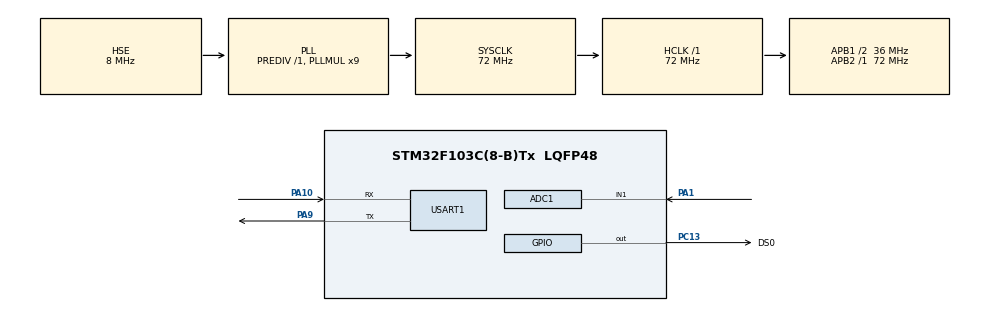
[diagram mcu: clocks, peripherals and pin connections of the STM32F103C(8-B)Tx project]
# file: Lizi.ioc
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ADC1.Channel-5\#ChannelRegularConversion=ADC_CHANNEL_1
ADC1.ContinuousConvMode=ENABLE
ADC1.EnableRegularConversion=ENABLE
ADC1.NbrOfConversion=1
ADC1.NbrOfConversionFlag=1
ADC1.Rank-5\#ChannelRegularConversion=1
ADC1.SamplingTime-5\#ChannelRegularConversion=ADC_SAMPLETIME_13CYCLES_5
ADC1.master=1
Dma.ADC1.0.Direction=DMA_PERIPH_TO_MEMORY
Dma.ADC1.0.Instance=DMA1_Channel1
Dma.ADC1.0.MemDataAlignment=DMA_MDATAALIGN_WORD
Dma.ADC1.0.MemInc=DMA_MINC_ENABLE
Dma.ADC1.0.Mode=DMA_CIRCULAR
Dma.ADC1.0.PeriphDataAlignment=DMA_PDATAALIGN_HALFWORD
Dma.ADC1.0.PeriphInc=DMA_PINC_DISABLE
Dma.ADC1.0.Priority=DMA_PRIORITY_LOW
Dma.Request0=ADC1
Mcu.Family=STM32F1
Mcu.Name=STM32F103C(8-B)Tx
Mcu.Package=LQFP48
NVIC.ADC1_2_IRQn=true\:0\:0\:false\:false\:true\:true\:true
NVIC.DMA1_Channel1_IRQn=true\:0\:0\:false\:false\:true\:false\:true
NVIC.PriorityGroup=NVIC_PRIORITYGROUP_4
NVIC.USART1_IRQn=true\:1\:0\:true\:false\:true\:true\:true
PA1.Signal=ADCx_IN1
PA10.Mode=Asynchronous
PA10.Signal=USART1_RX
PA13.Mode=Serial_Wire
PA13.Signal=SYS_JTMS-SWDIO
PA14.Mode=Serial_Wire
PA14.Signal=SYS_JTCK-SWCLK
PA9.Mode=Asynchronous
PA9.Signal=USART1_TX
PC13-TAMPER-RTC.GPIO_Label=DS0
PC13-TAMPER-RTC.GPIO_Speed=GPIO_SPEED_FREQ_HIGH
PC13-TAMPER-RTC.PinState=GPIO_PIN_SET
PC13-TAMPER-RTC.Signal=GPIO_Output
PC14-OSC32_IN.Mode=LSE-External-Oscillator
PC14-OSC32_IN.Signal=RCC_OSC32_IN
PC15-OSC32_OUT.Mode=LSE-External-Oscillator
PC15-OSC32_OUT.Signal=RCC_OSC32_OUT
PD0-OSC_IN.Mode=HSE-External-Oscillator
PD0-OSC_IN.Signal=RCC_OSC_IN
PD1-OSC_OUT.Mode=HSE-External-Oscillator
PD1-OSC_OUT.Signal=RCC_OSC_OUT
ProjectManager.HeapSize=0x200
ProjectManager.StackSize=0x400
ProjectManager.TargetToolchain=MDK-ARM V5.27
RCC.ADCPresc=RCC_ADCPCLK2_DIV6
RCC.AHBFreq_Value=72000000
RCC.APB1CLKDivider=RCC_HCLK_DIV2
RCC.APB1Freq_Value=36000000
RCC.APB1TimFreq_Value=72000000
RCC.APB2Freq_Value=72000000
RCC.APB2TimFreq_Value=72000000
RCC.EnbaleCSS=true
RCC.HCLKFreq_Value=72000000
RCC.PLLMUL=RCC_PLL_MUL9
RCC.PLLSourceVirtual=RCC_PLLSOURCE_HSE
RCC.RTCClockSelection=RCC_RTCCLKSOURCE_LSE
RCC.SYSCLKFreq_VALUE=72000000
RCC.SYSCLKSource=RCC_SYSCLKSOURCE_PLLCLK
RCC.USBFreq_Value=72000000
SH.ADCx_IN1.0=ADC1_IN1,IN1
USART1.VirtualMode=VM_ASYNC
VP_RTC_No_RTC_Output.Mode=RTC_OUT_NO
VP_RTC_VS_RTC_Activate.Mode=RTC_Enabled
board=custom

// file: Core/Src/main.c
/* USER CODE BEGIN Header */
/**
  ******************************************************************************
  * @file           : main.c
  * @brief          : Main program body
  ******************************************************************************
  * @attention
  *
  * <h2><center>&copy; Copyright (c) 2020 STMicroelectronics.
  * All rights reserved.</center></h2>
  *
  * This software component is licensed by ST under BSD 3-Clause license,
  * the "License"; You may not use this file except in compliance with the
  * License. You may obtain a copy of the License at:
  *                        opensource.org/licenses/BSD-3-Clause
  *
  ******************************************************************************
  */
/* USER CODE END Header */
#include "main.h"
#include "adc.h"
#include "dma.h"
#include "rtc.h"
#include "usart.h"
#include "gpio.h"

/* USER CODE BEGIN Includes */
#include "ad2ma.h"
/* USER CODE END Includes */

/* USER CODE BEGIN PTD */
uint32_t ADC_Value[256];
/* USER CODE END PTD */

void SystemClock_Config(void);

int main(void)
{
  /* USER CODE BEGIN 1 */
	uint16_t i = 0, j = 0, k = 0;
	uint32_t Voltage;
	float Current;
  /* USER CODE END 1 */

  /* MCU Configuration--------------------------------------------------------*/

  /* Reset of all peripherals, Initializes the Flash interface and the Systick. */
  HAL_Init();

  /* Configure the system clock */
  SystemClock_Config();

  /* Initialize all configured peripherals */
  MX_GPIO_Init();
  MX_DMA_Init();
  MX_RTC_Init();
  MX_ADC1_Init();
  MX_USART1_UART_Init();
  /* USER CODE BEGIN 2 */
//	HAL_ADCEx_Calibration_Start(&hadc1);         //У׼ADC
	HAL_Delay(1);
	HAL_ADC_Start_DMA(&hadc1, (uint32_t*)&ADC_Value, 256);	//����DMAת��
	printf("AD Start\r\n");
  /* USER CODE END 2 */

  /* Infinite loop */
  while (1)
  {

    /* USER CODE BEGIN 3 */
	  HAL_Delay(1);
	  i++;
	  j++;

	  if(i == 50)
	  {
		 i = 0;
		 HAL_GPIO_TogglePin(DS0_GPIO_Port, DS0_Pin);
	  }
	  if(j == 1000)
	  {
		  j = 0;
		  Current = AD2mA();
//		  printf("Current %.3f mA\r\n", Current);
		  printf("%.3f\r\n", Current);
	  }
  }
  /* USER CODE END 3 */
}

void SystemClock_Config(void)
{
  RCC_OscInitTypeDef RCC_OscInitStruct = {0};
  RCC_ClkInitTypeDef RCC_ClkInitStruct = {0};
  RCC_PeriphCLKInitTypeDef PeriphClkInit = {0};

  /** Initializes the RCC Oscillators according to the specified parameters
  * in the RCC_OscInitTypeDef structure.
  */
  RCC_OscInitStruct.OscillatorType = RCC_OSCILLATORTYPE_HSE|RCC_OSCILLATORTYPE_LSE;
  RCC_OscInitStruct.HSEState = RCC_HSE_ON;
  RCC_OscInitStruct.HSEPredivValue = RCC_HSE_PREDIV_DIV1;
  RCC_OscInitStruct.LSEState = RCC_LSE_ON;
  RCC_OscInitStruct.HSIState = RCC_HSI_ON;
  RCC_OscInitStruct.PLL.PLLState = RCC_PLL_ON;
  RCC_OscInitStruct.PLL.PLLSource = RCC_PLLSOURCE_HSE;
  RCC_OscInitStruct.PLL.PLLMUL = RCC_PLL_MUL9;
  if (HAL_RCC_OscConfig(&RCC_OscInitStruct) != HAL_OK)
  {
    Error_Handler();
  }
  /** Initializes the CPU, AHB and APB buses clocks
  */
  RCC_ClkInitStruct.ClockType = RCC_CLOCKTYPE_HCLK|RCC_CLOCKTYPE_SYSCLK
                              |RCC_CLOCKTYPE_PCLK1|RCC_CLOCKTYPE_PCLK2;
  RCC_ClkInitStruct.SYSCLKSource = RCC_SYSCLKSOURCE_PLLCLK;
  RCC_ClkInitStruct.AHBCLKDivider = RCC_SYSCLK_DIV1;
  RCC_ClkInitStruct.APB1CLKDivider = RCC_HCLK_DIV2;
  RCC_ClkInitStruct.APB2CLKDivider = RCC_HCLK_DIV1;

  if (HAL_RCC_ClockConfig(&RCC_ClkInitStruct, FLASH_LATENCY_2) != HAL_OK)
  {
    Error_Handler();
  }
  PeriphClkInit.PeriphClockSelection = RCC_PERIPHCLK_RTC|RCC_PERIPHCLK_ADC;
  PeriphClkInit.RTCClockSelection = RCC_RTCCLKSOURCE_LSE;
  PeriphClkInit.AdcClockSelection = RCC_ADCPCLK2_DIV6;
  if (HAL_RCCEx_PeriphCLKConfig(&PeriphClkInit) != HAL_OK)
  {
    Error_Handler();
  }
  /** Enables the Clock Security System
  */
  HAL_RCC_EnableCSS();
}

void Error_Handler(void)
{
}

/************************ (C) COPYRIGHT STMicroelectronics *****END OF FILE****/
